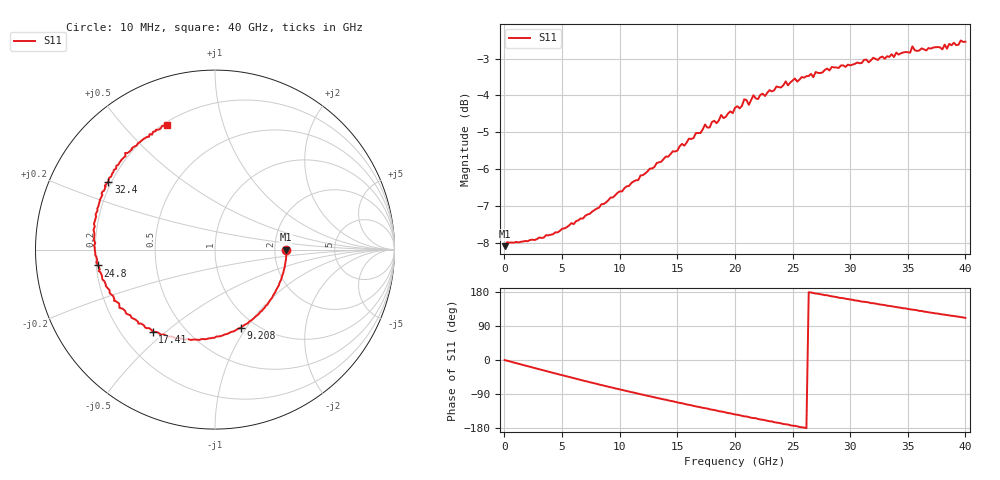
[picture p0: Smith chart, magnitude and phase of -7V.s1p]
!Agilent Technologies,N5227A,US51270434,A.10.00.00
!Agilent N5227A: A.10.00.00
!Date: Monday, January 26, 2026 17:26:47
!Correction: S11(Full 1 Port(1))
!S1P File: Measurement: S11:
# Hz S  dB  R 50
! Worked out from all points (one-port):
!   201 points, 10 MHz to 40 GHz, reference 50 ohm
!   lowest |S11| = -8.1 dB at 10 MHz (marker M1), VSWR 2.30, Z = 115 - j0.348 ohm
!   |S11| at or under -10 dB: nowhere
!   S11 on the Smith chart (normalised r, x): 10 MHz: 2.30, -0.01; 9.208 GHz: 0.86, -0.94; 17.41 GHz: 0.33, -0.45; 24.8 GHz: 0.21, -0.06; 32.4 GHz: 0.19, +0.28; 40 GHz: 0.21, +0.67
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1e7  -8.09 -0.2
2.4094e9  -7.91 -19.5
5.00875e9  -7.62 -40.0
7.2082e9  -7.23 -56.9
9.2077e9  -6.77 -71.8
1.00075e10  -6.60 -77.6
1.260685e10  -5.99 -95.6
1.500625e10  -5.50 -111.9
1.740565e10  -4.79 -127.1
2.0005e10  -4.34 -143.7
2.04049e10  -4.35 -145.7
2.08048e10  -4.11 -148.6
2.12047e10  -4.26 -150.6
2.16046e10  -4.00 -153.2
2.32042e10  -3.89 -162.2
2.48038e10  -3.65 -172.3
2.500375e10  -3.60 -173.3
2.8003e10  -3.27 170.9
2.900275e10  -3.26 164.4
3.00025e10  -3.19 159.6
3.2002e10  -2.98 150.0
3.24019e10  -3.04 147.5
3.500125e10  -2.83 134.7
3.540115e10  -2.67 132.9
3.580105e10  -2.79 131.3
3.740065e10  -2.69 122.9
3.900025e10  -2.57 116.2
4e10  -2.54 111.0
